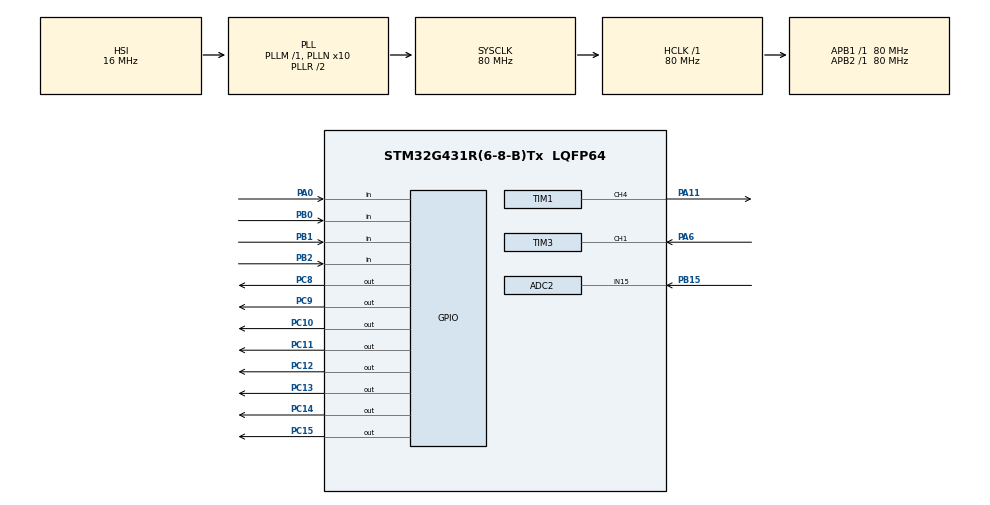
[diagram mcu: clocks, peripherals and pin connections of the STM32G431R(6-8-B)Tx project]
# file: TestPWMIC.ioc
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ADC2.Channel-0\#ChannelRegularConversion=ADC_CHANNEL_15
ADC2.NbrOfConversionFlag=1
ADC2.OffsetNumber-0\#ChannelRegularConversion=ADC_OFFSET_NONE
ADC2.Rank-0\#ChannelRegularConversion=1
ADC2.SamplingTime-0\#ChannelRegularConversion=ADC_SAMPLETIME_2CYCLES_5
Mcu.Family=STM32G4
Mcu.Name=STM32G431R(6-8-B)Tx
Mcu.Package=LQFP64
NVIC.PriorityGroup=NVIC_PRIORITYGROUP_4
NVIC.TIM3_IRQn=true\:0\:0\:false\:false\:true\:true\:true
PA0.Signal=GPIO_Input
PA11.Signal=S_TIM1_CH4
PA13.Mode=Serial_Wire
PA13.Signal=SYS_JTMS-SWDIO
PA14.Mode=Serial_Wire
PA14.Signal=SYS_JTCK-SWCLK
PA6.Signal=S_TIM3_CH1
PB0.Signal=GPIO_Input
PB1.Signal=GPIO_Input
PB15.Mode=IN15-Single-Ended
PB15.Signal=ADC2_IN15
PB2.Signal=GPIO_Input
PC10.Signal=GPIO_Output
PC11.Signal=GPIO_Output
PC12.Signal=GPIO_Output
PC13.Signal=GPIO_Output
PC14-OSC32_IN.Signal=GPIO_Output
PC15-OSC32_OUT.Signal=GPIO_Output
PC8.Signal=GPIO_Output
PC9.Signal=GPIO_Output
PF0-OSC_IN.Mode=HSE-External-Oscillator
PF0-OSC_IN.Signal=RCC_OSC_IN
PF1-OSC_OUT.Mode=HSE-External-Oscillator
PF1-OSC_OUT.Signal=RCC_OSC_OUT
ProjectManager.HeapSize=0x200
ProjectManager.StackSize=0x400
ProjectManager.TargetToolchain=MDK-ARM V5
RCC.ADC12Freq_Value=80000000
RCC.AHBFreq_Value=80000000
RCC.APB1Freq_Value=80000000
RCC.APB1TimFreq_Value=80000000
RCC.APB2Freq_Value=80000000
RCC.APB2TimFreq_Value=80000000
RCC.CortexFreq_Value=80000000
RCC.EXTERNAL_CLOCK_VALUE=12288000
RCC.HCLKFreq_Value=80000000
RCC.HSE_VALUE=24000000
RCC.HSI48_VALUE=48000000
RCC.HSI_VALUE=16000000
RCC.LSE_VALUE=32768
RCC.PLLN=10
RCC.SYSCLKFreq_VALUE=80000000
RCC.SYSCLKSource=RCC_SYSCLKSOURCE_PLLCLK
RCC.USBFreq_Value=80000000
RCC.VCOOutputFreq_Value=160000000
SH.S_TIM1_CH4.0=TIM1_CH4,PWM Generation4 CH4
SH.S_TIM3_CH1.0=TIM3_CH1,Input_Capture1_from_TI1
SH.S_TIM3_CH1.1=TIM3_CH1,Input_Capture2_from_TI1
TIM1.AutoReloadPreload=TIM_AUTORELOAD_PRELOAD_ENABLE
TIM1.Channel-PWM\ Generation4\ CH4=TIM_CHANNEL_4
TIM1.PeriodNoDither=100-1
TIM1.Prescaler=800-1
TIM1.PulseNoDither_4=10-1
TIM3.Channel-Input_Capture1_from_TI1=TIM_CHANNEL_1
TIM3.Channel-Input_Capture2_from_TI1=TIM_CHANNEL_2
TIM3.ICPolarity_CH1=TIM_INPUTCHANNELPOLARITY_RISING
TIM3.ICPolarity_CH2=TIM_INPUTCHANNELPOLARITY_FALLING
TIM3.Prescaler=80-1
VP_SYS_VS_DBSignals.Mode=DisableDeadBatterySignals
VP_TIM1_VS_ClockSourceINT.Mode=Internal
VP_TIM3_VS_ClockSourceINT.Mode=Internal
board=custom

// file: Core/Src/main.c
/* USER CODE BEGIN Header */
/**
  ******************************************************************************
  * @file           : main.c
  * @brief          : Main program body
  ******************************************************************************
  * @attention
  *
  * <h2><center>&copy; Copyright (c) 2023 STMicroelectronics.
  * All rights reserved.</center></h2>
  *
  * This software component is licensed by ST under BSD 3-Clause license,
  * the "License"; You may not use this file except in compliance with the
  * License. You may obtain a copy of the License at:
  *                        opensource.org/licenses/BSD-3-Clause
  *
  ******************************************************************************
  */
/* USER CODE END Header */
#include "main.h"
#include "adc.h"
#include "tim.h"
#include "gpio.h"

/* USER CODE BEGIN Includes */
#include "lcd.h"
#include "i2c_hal.h"
#include "stdio.h"
#include "string.h"

/* USER CODE END Includes */

/* USER CODE BEGIN PD */
#define KEY1 HAL_GPIO_ReadPin(GPIOB,GPIO_PIN_0)
#define KEY2 HAL_GPIO_ReadPin(GPIOB,GPIO_PIN_1)
#define KEY3 HAL_GPIO_ReadPin(GPIOB,GPIO_PIN_2)
#define KEY4 HAL_GPIO_ReadPin(GPIOA,GPIO_PIN_0)
/* USER CODE END PD */

/* USER CODE BEGIN PV */

u8 key_val,key_down,key_up,key_old;
double ao1, ao2;
u8 sta_lcd;
u8 ptr[30];
double sss, sss1;
unsigned char tx[21],rx,rx_buf[21],dex;//串口相关变量
uint32_t  cc1_value1 = 0, cc1_value2 = 0;
u8 tc[128];
u8 tcs = 0;
u32 freqPa1, freqPa2;
u8 led_in;
u8 e2prom[5];//EEPROM存储数组
/* USER CODE END PV */

void SystemClock_Config(void);

/* USER CODE BEGIN 0 */
u8 key_scan()
{
	if((KEY1 == 0)||(KEY2 == 0)||(KEY3 == 0)||(KEY4 == 0))
	{
		HAL_Delay(10);
		if(KEY1 == 0) return 1;
		else if(KEY2 == 0) return 2;
		else if(KEY3 == 0) return 3;
		else if(KEY4 == 0) return 4;
	}return 0;
}

void led_dis(u8 led)
{
	HAL_GPIO_WritePin(GPIOC,0xff00,GPIO_PIN_SET);
	HAL_GPIO_WritePin(GPIOD,GPIO_PIN_2,GPIO_PIN_SET);
	HAL_GPIO_WritePin(GPIOD,GPIO_PIN_2,GPIO_PIN_RESET);

	HAL_GPIO_WritePin(GPIOC,led<<8,GPIO_PIN_RESET);
	HAL_GPIO_WritePin(GPIOD,GPIO_PIN_2,GPIO_PIN_SET);
	HAL_GPIO_WritePin(GPIOD,GPIO_PIN_2,GPIO_PIN_RESET);
}

uint16_t adc = 0;
void getADC2(void) // 获取PB15引脚的电压(对应R37电阻)
{

	HAL_ADC_Start(&hadc2);
	adc = HAL_ADC_GetValue(&hadc2);
	ao2 = (3.3 * adc)/4096;
	__HAL_TIM_SetAutoreload(&htim1, 100);
	__HAL_TIM_SetCompare(&htim1,TIM_CHANNEL_4, ((adc * 1.0) / 4096) * 100 - 1);
}

void key_Proc()
{
	static __IO uint32_t Key_Tick,DKey_Tick;

	if(uwTick - Key_Tick < 50)
		return;

	Key_Tick = uwTick;

	key_val = key_scan();
	key_down = key_val&(key_val^key_old);
	key_up = ~key_val&(key_val^key_old);
	key_old = key_val;

	switch (key_up)
	{
		case 1:
		{
			__HAL_TIM_SetAutoreload(&htim1, 50 - 1);
			__HAL_TIM_SetCompare(&htim1,TIM_CHANNEL_4, 5);
			break;
		}
		case 3:
		{
			__HAL_TIM_SetAutoreload(&htim1, 2000);
			__HAL_TIM_SetCompare(&htim1,TIM_CHANNEL_4,200-1);
			break;
		}
		case 2:
		{

			break;
		}
		case 4:
		{
					getADC2();
			break;
		}
	}

}

void lcd_Proc()
{

	sprintf((char*)ptr,"  %d        ", freqPa1);
	LCD_DisplayStringLine(Line4,(u8*)ptr);

	sprintf((char*)ptr,"  %2.2f      ", sss);
	LCD_DisplayStringLine(Line5,(u8*)ptr);

	sprintf((char*)ptr,"  ao2:%2.2f      ", ao2);
	LCD_DisplayStringLine(Line6,(u8*)ptr);

	sprintf((char*)ptr,"  ao2:%2.2f      ", ((adc * 1.0) / 4096) * 100 - 1);
	LCD_DisplayStringLine(Line8,(u8*)ptr);
}

void HAL_TIM_IC_CaptureCallback(TIM_HandleTypeDef *htim)
{
	if(htim == &htim3)
	{
		if(htim->Channel == HAL_TIM_ACTIVE_CHANNEL_1)
			cc1_value1 = HAL_TIM_ReadCapturedValue(htim, TIM_CHANNEL_1) + 1;
		else if(htim->Channel == HAL_TIM_ACTIVE_CHANNEL_2)
			cc1_value2 = HAL_TIM_ReadCapturedValue(htim, TIM_CHANNEL_2) + 1;

		__HAL_TIM_SetCounter(htim, 0);

		freqPa1 = 1000000 / cc1_value1;
		sss = (cc1_value2 * 1.0 / cc1_value1) * 100;

	}

	HAL_TIM_IC_Start_IT(&htim3, TIM_CHANNEL_1);
	HAL_TIM_IC_Start_IT(&htim3, TIM_CHANNEL_2);
}

/* USER CODE END 0 */

int main(void)
{

  /* MCU Configuration--------------------------------------------------------*/

  /* Reset of all peripherals, Initializes the Flash interface and the Systick. */
  HAL_Init();

  /* Configure the system clock */
  SystemClock_Config();

  /* Initialize all configured peripherals */
  MX_GPIO_Init();
  MX_TIM1_Init();
  MX_TIM3_Init();
  MX_ADC2_Init();
  /* USER CODE BEGIN 2 */
	LCD_Init();
	LCD_SetBackColor(Black);
	LCD_SetTextColor(White);
	LCD_Clear(Black);
	led_dis(0);
	HAL_TIM_IC_Start_IT(&htim3, TIM_CHANNEL_1);
	HAL_TIM_IC_Start_IT(&htim3, TIM_CHANNEL_2);
	HAL_TIM_PWM_Start(&htim1, TIM_CHANNEL_4);
	getADC2();
  /* USER CODE END 2 */

  /* Infinite loop */
  while (1)
  {

    /* USER CODE BEGIN 3 */
//		getADC2();
		led_dis(0);
		key_Proc();
		lcd_Proc();
  }
  /* USER CODE END 3 */
}

void SystemClock_Config(void)
{
  RCC_OscInitTypeDef RCC_OscInitStruct = {0};
  RCC_ClkInitTypeDef RCC_ClkInitStruct = {0};
  RCC_PeriphCLKInitTypeDef PeriphClkInit = {0};

  /** Configure the main internal regulator output voltage
  */
  HAL_PWREx_ControlVoltageScaling(PWR_REGULATOR_VOLTAGE_SCALE1);
  /** Initializes the RCC Oscillators according to the specified parameters
  * in the RCC_OscInitTypeDef structure.
  */
  RCC_OscInitStruct.OscillatorType = RCC_OSCILLATORTYPE_HSI;
  RCC_OscInitStruct.HSIState = RCC_HSI_ON;
  RCC_OscInitStruct.HSICalibrationValue = RCC_HSICALIBRATION_DEFAULT;
  RCC_OscInitStruct.PLL.PLLState = RCC_PLL_ON;
  RCC_OscInitStruct.PLL.PLLSource = RCC_PLLSOURCE_HSI;
  RCC_OscInitStruct.PLL.PLLM = RCC_PLLM_DIV1;
  RCC_OscInitStruct.PLL.PLLN = 10;
  RCC_OscInitStruct.PLL.PLLP = RCC_PLLP_DIV2;
  RCC_OscInitStruct.PLL.PLLQ = RCC_PLLQ_DIV2;
  RCC_OscInitStruct.PLL.PLLR = RCC_PLLR_DIV2;
  if (HAL_RCC_OscConfig(&RCC_OscInitStruct) != HAL_OK)
  {
    Error_Handler();
  }
  /** Initializes the CPU, AHB and APB buses clocks
  */
  RCC_ClkInitStruct.ClockType = RCC_CLOCKTYPE_HCLK|RCC_CLOCKTYPE_SYSCLK
                              |RCC_CLOCKTYPE_PCLK1|RCC_CLOCKTYPE_PCLK2;
  RCC_ClkInitStruct.SYSCLKSource = RCC_SYSCLKSOURCE_PLLCLK;
  RCC_ClkInitStruct.AHBCLKDivider = RCC_SYSCLK_DIV1;
  RCC_ClkInitStruct.APB1CLKDivider = RCC_HCLK_DIV1;
  RCC_ClkInitStruct.APB2CLKDivider = RCC_HCLK_DIV1;

  if (HAL_RCC_ClockConfig(&RCC_ClkInitStruct, FLASH_LATENCY_2) != HAL_OK)
  {
    Error_Handler();
  }
  /** Initializes the peripherals clocks
  */
  PeriphClkInit.PeriphClockSelection = RCC_PERIPHCLK_ADC12;
  PeriphClkInit.Adc12ClockSelection = RCC_ADC12CLKSOURCE_SYSCLK;
  if (HAL_RCCEx_PeriphCLKConfig(&PeriphClkInit) != HAL_OK)
  {
    Error_Handler();
  }
}

void Error_Handler(void)
{
  __disable_irq();
  while (1)
  {
  }
}

/************************ (C) COPYRIGHT STMicroelectronics *****END OF FILE****/
